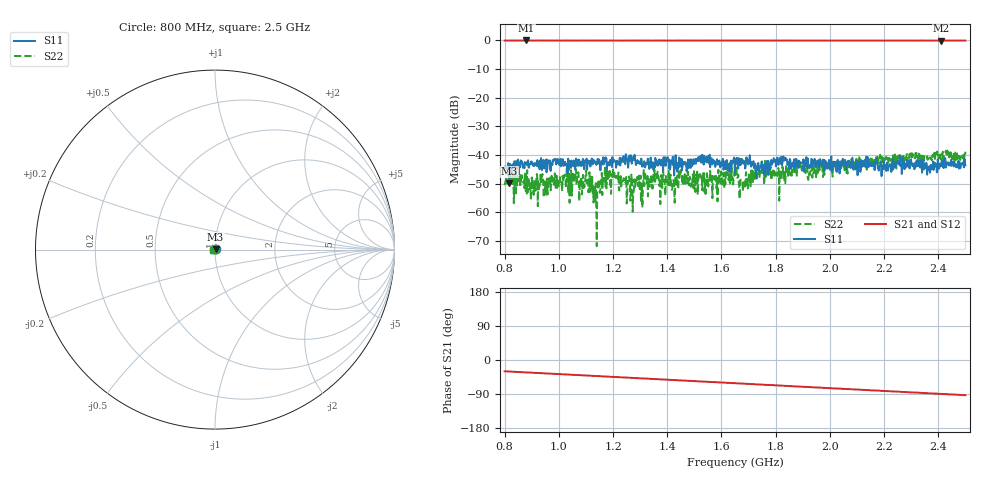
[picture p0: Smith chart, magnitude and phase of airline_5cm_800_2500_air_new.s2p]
!Keysight Technologies N9950B: A.12.38
!Date: Friday, 14 April 2023 14:41:48
!Timezone: (UTC-06:00) Central Time (US & Canada)
!Model: N9950B
!Serial: MY61131330
!GPS Latitude:
!GPS Longitude:
!GPS TimeStamp: 0001-01-01 00:00:00Z
!GPS Seconds Since Last Read: 0
!CHECKSUM:0638181875
!Correction: S11(ON U)S21(ON U)S12(ON U)S22(ON U)
!S2P File: Measurements:S11,S21,S12,S22:
# Hz S DB R 50
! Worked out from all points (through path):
!   1001 points, 800 MHz to 2.5 GHz, reference 50 ohm
!   highest |S21| = 0.01 dB at 879.9 MHz (marker M1); lowest = -0.1 dB at 2.41 GHz (marker M2)
!   group delay of S21, straight-line fit = 103 ps
!   lowest |S11| = -49.9 dB at 817 MHz (marker M3), VSWR 1.01, Z = 50.3 + j0.156 ohm
!   |S11| at or under -10 dB: start of sweep to end of sweep
!   |S22| runs from -71.8 to -38.5 dB; largest |S21 - S12| = 0.0065
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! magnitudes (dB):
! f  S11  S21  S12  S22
! 800 MHz  -44.1  0.0  0.0  -50.6
! 817 MHz  -49.9  0.0  0.0  -48.3
! 879.9 MHz  -42.9  0.0  0.0  -47.3
! 953 MHz  -41.6  0.0  0.0  -54.3
! 1.063 GHz  -41.2  0.0  0.0  -44.9
! 1.084 GHz  -43.8  0.0  0.0  -48.3
! 1.104 GHz  -45.1  0.0  0.0  -49.8
! 1.133 GHz  -42.1  0.0  0.0  -51.2
! 1.179 GHz  -43.2  0.0  0.0  -46.4
! 1.273 GHz  -40.8  0.0  0.0  -59.8
! 1.288 GHz  -43.0  0.0  0.0  -48.9
! 1.368 GHz  -41.9  0.0  0.0  -47.4
! 1.424 GHz  -42.7  0.0  0.0  -49.4
! 1.451 GHz  -43.9  0.0  0.0  -46.7
! 1.546 GHz  -40.6  0.0  0.0  -46.4
! 1.65 GHz  -46.6  0.0  0.0  -45.2
! 1.674 GHz  -41.4  0.0  0.0  -49.3
! 1.769 GHz  -42.0  0.0  0.0  -43.4
! 1.934 GHz  -41.8  0.0  0.0  -47.1
! 2.218 GHz  -43.7  0.0  0.0  -41.3
! 2.41 GHz  -43.5  -0.1  0.0  -41.6
! 2.5 GHz  -43.6  0.0  0.0  -38.9
